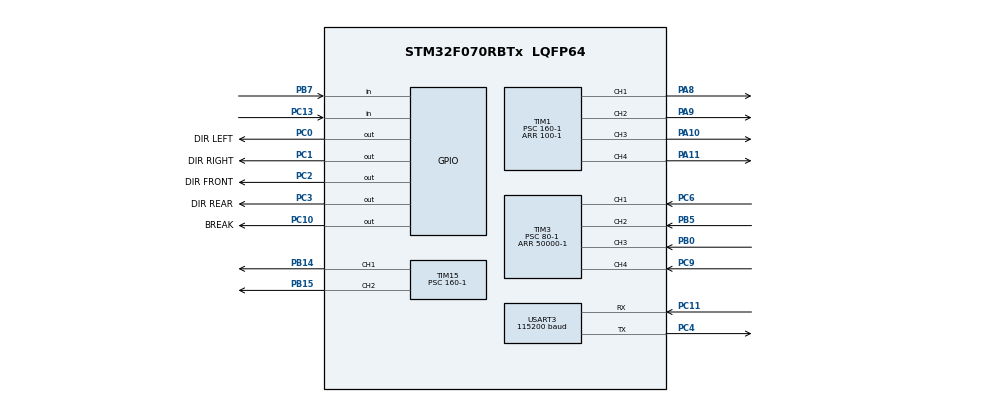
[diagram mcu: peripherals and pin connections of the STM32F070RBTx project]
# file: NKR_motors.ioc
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Dma.Request0=USART3_RX
Dma.Request1=USART3_TX
Dma.USART3_RX.0.Direction=DMA_PERIPH_TO_MEMORY
Dma.USART3_RX.0.Instance=DMA1_Channel3
Dma.USART3_RX.0.MemDataAlignment=DMA_MDATAALIGN_BYTE
Dma.USART3_RX.0.MemInc=DMA_MINC_ENABLE
Dma.USART3_RX.0.Mode=DMA_CIRCULAR
Dma.USART3_RX.0.PeriphDataAlignment=DMA_PDATAALIGN_BYTE
Dma.USART3_RX.0.PeriphInc=DMA_PINC_DISABLE
Dma.USART3_RX.0.Priority=DMA_PRIORITY_LOW
Dma.USART3_TX.1.Direction=DMA_MEMORY_TO_PERIPH
Dma.USART3_TX.1.Instance=DMA1_Channel2
Dma.USART3_TX.1.MemDataAlignment=DMA_MDATAALIGN_BYTE
Dma.USART3_TX.1.MemInc=DMA_MINC_ENABLE
Dma.USART3_TX.1.Mode=DMA_NORMAL
Dma.USART3_TX.1.PeriphDataAlignment=DMA_PDATAALIGN_BYTE
Dma.USART3_TX.1.PeriphInc=DMA_PINC_DISABLE
Dma.USART3_TX.1.Priority=DMA_PRIORITY_LOW
Mcu.Family=STM32F0
Mcu.Name=STM32F070RBTx
Mcu.Package=LQFP64
NVIC.DMA1_Channel2_3_IRQn=true\:0\:0\:false\:false\:true\:false\:true
NVIC.TIM15_IRQn=true\:0\:0\:false\:false\:true\:true\:true
NVIC.TIM3_IRQn=true\:1\:0\:true\:false\:true\:true\:true
NVIC.USART3_4_IRQn=true\:0\:0\:false\:false\:true\:true\:true
PA10.Signal=S_TIM1_CH3
PA11.Signal=S_TIM1_CH4
PA8.Signal=S_TIM1_CH1
PA9.Signal=S_TIM1_CH2
PB0.GPIO_PuPd=GPIO_PULLUP
PB0.Signal=S_TIM3_CH3
PB14.Signal=S_TIM15_CH1
PB15.Signal=S_TIM15_CH2
PB5.GPIO_PuPd=GPIO_PULLUP
PB5.Signal=S_TIM3_CH2
PB7.GPIO_PuPd=GPIO_PULLUP
PB7.Signal=GPIO_Input
PC0.GPIO_Label=DIR LEFT
PC0.Signal=GPIO_Output
PC1.GPIO_Label=DIR RIGHT
PC1.Signal=GPIO_Output
PC10.GPIO_Label=BREAK
PC10.Signal=GPIO_Output
PC11.Mode=Asynchronous
PC11.Signal=USART3_RX
PC13.GPIO_PuPd=GPIO_PULLUP
PC13.Signal=GPIO_Input
PC2.GPIO_Label=DIR FRONT
PC2.PinState=GPIO_PIN_RESET
PC2.Signal=GPIO_Output
PC3.GPIO_Label=DIR REAR
PC3.Signal=GPIO_Output
PC4.Mode=Asynchronous
PC4.Signal=USART3_TX
PC6.GPIO_PuPd=GPIO_PULLUP
PC6.Signal=S_TIM3_CH1
PC9.GPIO_PuPd=GPIO_PULLUP
PC9.Signal=S_TIM3_CH4
PF0-OSC_IN.Mode=HSE-External-Oscillator
PF0-OSC_IN.Signal=RCC_OSC_IN
PF1-OSC_OUT.Mode=HSE-External-Oscillator
PF1-OSC_OUT.Signal=RCC_OSC_OUT
ProjectManager.HeapSize=0x200
ProjectManager.StackSize=0x400
ProjectManager.TargetToolchain=STM32CubeIDE
RCC.AHBFreq_Value=8000000
RCC.APB1Freq_Value=8000000
RCC.APB1TimFreq_Value=8000000
RCC.HCLKFreq_Value=8000000
SH.S_TIM15_CH1.0=TIM15_CH1,PWM Generation1 CH1
SH.S_TIM15_CH2.0=TIM15_CH2,PWM Generation2 CH2
SH.S_TIM1_CH1.0=TIM1_CH1,PWM Generation1 CH1
SH.S_TIM1_CH2.0=TIM1_CH2,PWM Generation2 CH2
SH.S_TIM1_CH3.0=TIM1_CH3,PWM Generation3 CH3
SH.S_TIM1_CH4.0=TIM1_CH4,PWM Generation4 CH4
SH.S_TIM3_CH1.0=TIM3_CH1,Input_Capture1_from_TI1
SH.S_TIM3_CH2.0=TIM3_CH2,Input_Capture2_from_TI2
SH.S_TIM3_CH3.0=TIM3_CH3,Input_Capture3_from_TI3
SH.S_TIM3_CH4.0=TIM3_CH4,Input_Capture4_from_TI4
TIM1.Channel-PWM\ Generation1\ CH1=TIM_CHANNEL_1
TIM1.Channel-PWM\ Generation2\ CH2=TIM_CHANNEL_2
TIM1.Channel-PWM\ Generation3\ CH3=TIM_CHANNEL_3
TIM1.Channel-PWM\ Generation4\ CH4=TIM_CHANNEL_4
TIM1.Period=100-1
TIM1.Prescaler=160-1
TIM15.Channel-PWM\ Generation1\ CH1=TIM_CHANNEL_1
TIM15.Channel-PWM\ Generation2\ CH2=TIM_CHANNEL_2
TIM15.Period=5-1
TIM15.Prescaler=160-1
TIM15.RepetitionCounter=100
TIM3.Channel-Input_Capture1_from_TI1=TIM_CHANNEL_1
TIM3.Channel-Input_Capture2_from_TI2=TIM_CHANNEL_2
TIM3.Channel-Input_Capture3_from_TI3=TIM_CHANNEL_3
TIM3.Channel-Input_Capture4_from_TI4=TIM_CHANNEL_4
TIM3.ICFilter_CH1=3
TIM3.ICFilter_CH2=3
TIM3.ICFilter_CH3=3
TIM3.ICFilter_CH4=3
TIM3.ICPolarity_CH2=TIM_INPUTCHANNELPOLARITY_RISING
TIM3.ICPolarity_CH3=TIM_INPUTCHANNELPOLARITY_RISING
TIM3.ICPrescaler-Input_Capture1_from_TI1=TIM_ICPSC_DIV1
TIM3.ICPrescaler-Input_Capture2_from_TI2=TIM_ICPSC_DIV1
TIM3.ICPrescaler-Input_Capture3_from_TI3=TIM_ICPSC_DIV1
TIM3.Period=50000-1
TIM3.Prescaler=80-1
USART3.BaudRate=115200
USART3.VirtualMode-Asynchronous=VM_ASYNC
VP_TIM15_VS_ClockSourceINT.Mode=Internal
VP_TIM1_VS_ClockSourceINT.Mode=Internal
board=custom

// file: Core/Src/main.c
/* USER CODE BEGIN Header */
/**
  ******************************************************************************
  * @file           : main.c
  * @brief          : Main program body
  ******************************************************************************
  * @attention
  *
  * <h2><center>&copy; Copyright (c) 2021 STMicroelectronics.
  * All rights reserved.</center></h2>
  *
  * This software component is licensed by ST under BSD 3-Clause license,
  * the "License"; You may not use this file except in compliance with the
  * License. You may obtain a copy of the License at:
  *                        opensource.org/licenses/BSD-3-Clause
  *
  ******************************************************************************
  */
/* USER CODE END Header */
#include "main.h"

/* USER CODE BEGIN Includes */
#include "motor_lib.h"
#include "linear_motor_lib.h"
//#include "stm32f0xx_hal.h"

/* USER CODE END Includes */

/* USER CODE BEGIN PD */
#define UART_BUSY 1
#define UART_PACKET_OK 0
#define UART_PACKET_TOO_LONG 1
/* USER CODE END PD */

TIM_HandleTypeDef htim1;
TIM_HandleTypeDef htim3;
TIM_HandleTypeDef htim15;

UART_HandleTypeDef huart3;
DMA_HandleTypeDef hdma_usart3_rx;
DMA_HandleTypeDef hdma_usart3_tx;

void SystemClock_Config(void);
static void MX_GPIO_Init(void);
static void MX_TIM3_Init(void);
static void MX_TIM1_Init(void);
static void MX_TIM15_Init(void);
static void MX_DMA_Init(void);
static void MX_USART3_UART_Init(void);
/* USER CODE BEGIN PFP */
void UART_Send (const uint8_t message[]);
void drv_messageCheck(const char message[]);
void cal_messageCheck(const char message[]);
void calculate_angles(float *frontAngle, float *rearAngle);
void calculate_pulses(int32_t frontAngle, int32_t rearAngle);
/* USER CODE END PFP */

/* USER CODE BEGIN 0 */
// ENCODERS
uint32_t T31pulseWidth = 0;
uint32_t T31Rising = 0;
uint32_t T31Tick = 0;
uint32_t T31vectSum = 0;
uint32_t T31vect[5] = { 0 };

uint32_t T32pulseWidth = 0;
uint32_t T32Rising = 0;
uint32_t T32Tick = 0;
uint32_t T32vectSum = 0;
uint32_t T32vect[5] = { 0 };

uint32_t T33pulseWidth = 0;
uint32_t T33Rising = 0;
uint32_t T33Tick = 0;
uint32_t T33vectSum = 0;
uint32_t T33vect[5] = { 0 };

uint32_t T34pulseWidth = 0;
uint32_t T34Rising = 0;
uint32_t T34Tick = 0;
uint32_t T34vectSum = 0;
uint32_t T34vect[5] = { 0 };

// MOTORS - UART
uint8_t UART2_rxBuffer = '\000';
uint8_t UART_newMessage = 0;
char rxString[100] = { '\0' };
volatile uint8_t UART_TX_Busy = 0;

// MOTORS - Motor Wheels
Motor_Wheel MW[4];
Motor_Wheel* pMW[4];

// MOTORS - Linear Motors
Linear_Motor LM[2];
Linear_Motor* pLM[2];

uint32_t linearPulse_1 = 0;
uint32_t linearPulse_2 = 0;

// INITIALIZATION FLAG
uint8_t Init_Done = 0;

/* USER CODE END 0 */

int main(void)
{

  /* MCU Configuration--------------------------------------------------------*/

  /* Reset of all peripherals, Initializes the Flash interface and the Systick. */
  HAL_Init();

  /* Configure the system clock */
  SystemClock_Config();

  /* Initialize all configured peripherals */
  MX_GPIO_Init();
  MX_TIM3_Init();
  MX_TIM1_Init();
  MX_TIM15_Init();
  MX_DMA_Init();
  MX_USART3_UART_Init();
  /* USER CODE BEGIN 2 */

  HAL_Delay(1000);

  // --------------------------------------
  // ENCODERS READING
  // --------------------------------------
  HAL_TIM_IC_Start_IT(&htim3, TIM_CHANNEL_1);
  HAL_TIM_IC_Start_IT(&htim3, TIM_CHANNEL_2);
  HAL_TIM_IC_Start_IT(&htim3, TIM_CHANNEL_3);
  HAL_TIM_IC_Start_IT(&htim3, TIM_CHANNEL_4);
  uint8_t MSG[65] = {'\0'};
  float speed1 = 0;
  float speed2 = 0;
  float speed3 = 0;
  float speed4 = 0;
  float gamma1 = 0;
  float gamma2 = 0;
  uint8_t cycleCounter = 0;

  uint32_t sumVect = 0.0;
  uint32_t vect[4][5] = { 0.0 };

  // --------------------------------------
  // MOTORS CONTROL
  // --------------------------------------
  HAL_TIM_PWM_Start(&htim1, TIM_CHANNEL_1);
  HAL_TIM_PWM_Start(&htim1, TIM_CHANNEL_2);
  HAL_TIM_PWM_Start(&htim1, TIM_CHANNEL_3);
  HAL_TIM_PWM_Start(&htim1, TIM_CHANNEL_4);

  __HAL_TIM_SET_COMPARE(&htim15, TIM_CHANNEL_1, 2);
  __HAL_TIM_SET_COMPARE(&htim15, TIM_CHANNEL_2, 2);

  // SETUP
  for (int i = 0; i < 4; i++)
  {
	  pMW[i] = &MW[i];
	  motor_wheel_init(pMW[i], i+1); // init structure
	  motorPWM_pulse(&htim1, pMW[i], 0.0); // send zero velocities
	  motor_break(pMW[i], 0);  // set brake to false
  }

  // basicly - clear all uart queues
  HAL_UART_Receive_DMA(&huart3, &UART2_rxBuffer, 1);
  HAL_UART_Transmit(&huart3, MSG, strlen(MSG), 50);

  for (int i = 0; i < 2; i++)
  {
	  pLM[i] = &LM[i];
	  linear_motor_init(pLM[i], i+1, i); // init structure
  }

  // No incoming processing should be done before it is set
  Init_Done = 1;

  /* USER CODE END 2 */

  /* Infinite loop */
  while (1)
  {

    /* USER CODE BEGIN 3 */
	cycleCounter++;
	if (cycleCounter == 255)
	{
		cycleCounter = 1;
	}
	// --------------------------------------
	// ENCODERS READING
	// --------------------------------------
    if (cycleCounter % 1 == 0) // send odometry every second cycle
	 {
		 speed1 = 0.0;
		 speed2 = 0.0;
		 speed3 = 0.0;
		 speed4 = 0.0;

		 if (T31pulseWidth < 30000 && T31pulseWidth != 0)
		 {
			 speed1 = 13900.0 / T31pulseWidth;
		 }
		 if (T32pulseWidth < 30000 && T32pulseWidth != 0)
		 {
			 speed2 = 13900.0 / T32pulseWidth;
		 }
		 if (T33pulseWidth < 30000 && T33pulseWidth != 0)
		 {
			 speed3 = 13900.0 / T33pulseWidth;
		 }
		 if (T34pulseWidth < 30000 && T34pulseWidth != 0)
		 {
			 speed4 = 13900.0 / T34pulseWidth;
		 }
		 calculate_angles(&gamma1, &gamma2);
		 memset(MSG, 0, sizeof(MSG));
		 sprintf(MSG, "[enc] %.2f %.2f %.2f %.2f %.2f %.2f\n", speed1, speed2, speed3, speed4, gamma1, gamma2);
		 //sprintf(MSG, "[enc] %d %d %d %d %d %d\n", T31pulseWidth, T32pulseWidth, T33pulseWidth, T34pulseWidth, HAL_GPIO_ReadPin(GPIOB, GPIO_PIN_7), HAL_GPIO_ReadPin(GPIOC, GPIO_PIN_13));
		 UART_Send(MSG);

		 //memset(MSG, 0, sizeof(MSG));
		 //sprintf(MSG, "status: %d %d\n", HAL_GPIO_ReadPin(GPIOB, GPIO_PIN_7), HAL_GPIO_ReadPin(GPIOC, GPIO_PIN_13));
		 //UART_Send(MSG);
	 }

	 for (int i=0; i < 4; i++)
	 {
		 sumVect = 0.0;
		 for (int j=0; j < 4; j++)
		 {
			 vect[i][j] = vect[i][j+1];
			 sumVect += vect[i][j] / 5;
		 }
		 if (i==0)
		 {
			 vect[i][4] = T31pulseWidth;
			 sumVect += vect[i][4] / 5;
			 if (abs(T31pulseWidth - sumVect) <= 5) // exact match may differ by 5 or less
				 T31pulseWidth = 0;
		 }
		 else if (i==1)
		 {
			 vect[i][4] = T32pulseWidth;
			 sumVect += vect[i][4] / 5;
			 if (abs(T32pulseWidth - sumVect) <= 5)
				 T32pulseWidth = 0;
		 }
		 else if (i==2)
		 {
			 vect[i][4] = T33pulseWidth;
			 sumVect += vect[i][4] / 5;
			 if (abs(T33pulseWidth - sumVect) <= 5)
				 T33pulseWidth = 0;
		 }
		 else if (i==3)
		 {
			 vect[i][4] = T34pulseWidth;
			 sumVect += vect[i][4] / 5;
			 if (abs(T34pulseWidth - sumVect) <= 5)
				 T34pulseWidth = 0;
		 }
	 }

	 HAL_Delay(50);
	// --------------------------------------
	// MOTORS CONTROL
	// --------------------------------------
	 if ((UART_newMessage == 1) && (cycleCounter % 2 == 0))
	 {
		 // check if received string contains [drv] message and parse it
		 drv_messageCheck(rxString);
		 cal_messageCheck(rxString);
		 // clear received b
		 memset(rxString, 0, sizeof(rxString));
		 // set newMessage flag to 0 to begin new string receive
		 UART_newMessage = 0;
	 }
  }
  /* USER CODE END 3 */
}

void SystemClock_Config(void)
{
  RCC_OscInitTypeDef RCC_OscInitStruct = {0};
  RCC_ClkInitTypeDef RCC_ClkInitStruct = {0};

  /** Initializes the RCC Oscillators according to the specified parameters
  * in the RCC_OscInitTypeDef structure.
  */
  RCC_OscInitStruct.OscillatorType = RCC_OSCILLATORTYPE_HSI;
  RCC_OscInitStruct.HSIState = RCC_HSI_ON;
  RCC_OscInitStruct.HSICalibrationValue = RCC_HSICALIBRATION_DEFAULT;
  RCC_OscInitStruct.PLL.PLLState = RCC_PLL_NONE;
  if (HAL_RCC_OscConfig(&RCC_OscInitStruct) != HAL_OK)
  {
    Error_Handler();
  }
  /** Initializes the CPU, AHB and APB buses clocks
  */
  RCC_ClkInitStruct.ClockType = RCC_CLOCKTYPE_HCLK|RCC_CLOCKTYPE_SYSCLK
                              |RCC_CLOCKTYPE_PCLK1;
  RCC_ClkInitStruct.SYSCLKSource = RCC_SYSCLKSOURCE_HSI;
  RCC_ClkInitStruct.AHBCLKDivider = RCC_SYSCLK_DIV1;
  RCC_ClkInitStruct.APB1CLKDivider = RCC_HCLK_DIV1;

  if (HAL_RCC_ClockConfig(&RCC_ClkInitStruct, FLASH_LATENCY_0) != HAL_OK)
  {
    Error_Handler();
  }
}

static void MX_TIM1_Init(void)
{

  TIM_ClockConfigTypeDef sClockSourceConfig = {0};
  TIM_MasterConfigTypeDef sMasterConfig = {0};
  TIM_OC_InitTypeDef sConfigOC = {0};
  TIM_BreakDeadTimeConfigTypeDef sBreakDeadTimeConfig = {0};

  htim1.Instance = TIM1;
  htim1.Init.Prescaler = 160-1;
  htim1.Init.CounterMode = TIM_COUNTERMODE_UP;
  htim1.Init.Period = 100-1;
  htim1.Init.ClockDivision = TIM_CLOCKDIVISION_DIV1;
  htim1.Init.RepetitionCounter = 0;
  htim1.Init.AutoReloadPreload = TIM_AUTORELOAD_PRELOAD_DISABLE;
  if (HAL_TIM_Base_Init(&htim1) != HAL_OK)
  {
    Error_Handler();
  }
  sClockSourceConfig.ClockSource = TIM_CLOCKSOURCE_INTERNAL;
  if (HAL_TIM_ConfigClockSource(&htim1, &sClockSourceConfig) != HAL_OK)
  {
    Error_Handler();
  }
  if (HAL_TIM_PWM_Init(&htim1) != HAL_OK)
  {
    Error_Handler();
  }
  sMasterConfig.MasterOutputTrigger = TIM_TRGO_RESET;
  sMasterConfig.MasterSlaveMode = TIM_MASTERSLAVEMODE_DISABLE;
  if (HAL_TIMEx_MasterConfigSynchronization(&htim1, &sMasterConfig) != HAL_OK)
  {
    Error_Handler();
  }
  sConfigOC.OCMode = TIM_OCMODE_PWM1;
  sConfigOC.Pulse = 0;
  sConfigOC.OCPolarity = TIM_OCPOLARITY_HIGH;
  sConfigOC.OCNPolarity = TIM_OCNPOLARITY_HIGH;
  sConfigOC.OCFastMode = TIM_OCFAST_DISABLE;
  sConfigOC.OCIdleState = TIM_OCIDLESTATE_RESET;
  sConfigOC.OCNIdleState = TIM_OCNIDLESTATE_RESET;
  if (HAL_TIM_PWM_ConfigChannel(&htim1, &sConfigOC, TIM_CHANNEL_1) != HAL_OK)
  {
    Error_Handler();
  }
  if (HAL_TIM_PWM_ConfigChannel(&htim1, &sConfigOC, TIM_CHANNEL_2) != HAL_OK)
  {
    Error_Handler();
  }
  if (HAL_TIM_PWM_ConfigChannel(&htim1, &sConfigOC, TIM_CHANNEL_3) != HAL_OK)
  {
    Error_Handler();
  }
  if (HAL_TIM_PWM_ConfigChannel(&htim1, &sConfigOC, TIM_CHANNEL_4) != HAL_OK)
  {
    Error_Handler();
  }
  sBreakDeadTimeConfig.OffStateRunMode = TIM_OSSR_DISABLE;
  sBreakDeadTimeConfig.OffStateIDLEMode = TIM_OSSI_DISABLE;
  sBreakDeadTimeConfig.LockLevel = TIM_LOCKLEVEL_OFF;
  sBreakDeadTimeConfig.DeadTime = 0;
  sBreakDeadTimeConfig.BreakState = TIM_BREAK_DISABLE;
  sBreakDeadTimeConfig.BreakPolarity = TIM_BREAKPOLARITY_HIGH;
  sBreakDeadTimeConfig.AutomaticOutput = TIM_AUTOMATICOUTPUT_DISABLE;
  if (HAL_TIMEx_ConfigBreakDeadTime(&htim1, &sBreakDeadTimeConfig) != HAL_OK)
  {
    Error_Handler();
  }
  HAL_TIM_MspPostInit(&htim1);

}

static void MX_TIM3_Init(void)
{

  TIM_MasterConfigTypeDef sMasterConfig = {0};
  TIM_IC_InitTypeDef sConfigIC = {0};

  htim3.Instance = TIM3;
  htim3.Init.Prescaler = 80-1;
  htim3.Init.CounterMode = TIM_COUNTERMODE_UP;
  htim3.Init.Period = 50000-1;
  htim3.Init.ClockDivision = TIM_CLOCKDIVISION_DIV1;
  htim3.Init.AutoReloadPreload = TIM_AUTORELOAD_PRELOAD_DISABLE;
  if (HAL_TIM_IC_Init(&htim3) != HAL_OK)
  {
    Error_Handler();
  }
  sMasterConfig.MasterOutputTrigger = TIM_TRGO_RESET;
  sMasterConfig.MasterSlaveMode = TIM_MASTERSLAVEMODE_DISABLE;
  if (HAL_TIMEx_MasterConfigSynchronization(&htim3, &sMasterConfig) != HAL_OK)
  {
    Error_Handler();
  }
  sConfigIC.ICPolarity = TIM_INPUTCHANNELPOLARITY_RISING;
  sConfigIC.ICSelection = TIM_ICSELECTION_DIRECTTI;
  sConfigIC.ICPrescaler = TIM_ICPSC_DIV1;
  sConfigIC.ICFilter = 3;
  if (HAL_TIM_IC_ConfigChannel(&htim3, &sConfigIC, TIM_CHANNEL_1) != HAL_OK)
  {
    Error_Handler();
  }
  if (HAL_TIM_IC_ConfigChannel(&htim3, &sConfigIC, TIM_CHANNEL_2) != HAL_OK)
  {
    Error_Handler();
  }
  if (HAL_TIM_IC_ConfigChannel(&htim3, &sConfigIC, TIM_CHANNEL_3) != HAL_OK)
  {
    Error_Handler();
  }
  if (HAL_TIM_IC_ConfigChannel(&htim3, &sConfigIC, TIM_CHANNEL_4) != HAL_OK)
  {
    Error_Handler();
  }

}

static void MX_TIM15_Init(void)
{

  TIM_ClockConfigTypeDef sClockSourceConfig = {0};
  TIM_MasterConfigTypeDef sMasterConfig = {0};
  TIM_OC_InitTypeDef sConfigOC = {0};
  TIM_BreakDeadTimeConfigTypeDef sBreakDeadTimeConfig = {0};

  htim15.Instance = TIM15;
  htim15.Init.Prescaler = 160-1;
  htim15.Init.CounterMode = TIM_COUNTERMODE_UP;
  htim15.Init.Period = 5-1;
  htim15.Init.ClockDivision = TIM_CLOCKDIVISION_DIV1;
  htim15.Init.RepetitionCounter = 100;
  htim15.Init.AutoReloadPreload = TIM_AUTORELOAD_PRELOAD_DISABLE;
  if (HAL_TIM_Base_Init(&htim15) != HAL_OK)
  {
    Error_Handler();
  }
  sClockSourceConfig.ClockSource = TIM_CLOCKSOURCE_INTERNAL;
  if (HAL_TIM_ConfigClockSource(&htim15, &sClockSourceConfig) != HAL_OK)
  {
    Error_Handler();
  }
  if (HAL_TIM_PWM_Init(&htim15) != HAL_OK)
  {
    Error_Handler();
  }
  sMasterConfig.MasterOutputTrigger = TIM_TRGO_RESET;
  sMasterConfig.MasterSlaveMode = TIM_MASTERSLAVEMODE_DISABLE;
  if (HAL_TIMEx_MasterConfigSynchronization(&htim15, &sMasterConfig) != HAL_OK)
  {
    Error_Handler();
  }
  sConfigOC.OCMode = TIM_OCMODE_PWM1;
  sConfigOC.Pulse = 0;
  sConfigOC.OCPolarity = TIM_OCPOLARITY_HIGH;
  sConfigOC.OCNPolarity = TIM_OCNPOLARITY_HIGH;
  sConfigOC.OCFastMode = TIM_OCFAST_DISABLE;
  sConfigOC.OCIdleState = TIM_OCIDLESTATE_RESET;
  sConfigOC.OCNIdleState = TIM_OCNIDLESTATE_RESET;
  if (HAL_TIM_PWM_ConfigChannel(&htim15, &sConfigOC, TIM_CHANNEL_1) != HAL_OK)
  {
    Error_Handler();
  }
  if (HAL_TIM_PWM_ConfigChannel(&htim15, &sConfigOC, TIM_CHANNEL_2) != HAL_OK)
  {
    Error_Handler();
  }
  sBreakDeadTimeConfig.OffStateRunMode = TIM_OSSR_DISABLE;
  sBreakDeadTimeConfig.OffStateIDLEMode = TIM_OSSI_DISABLE;
  sBreakDeadTimeConfig.LockLevel = TIM_LOCKLEVEL_OFF;
  sBreakDeadTimeConfig.DeadTime = 0;
  sBreakDeadTimeConfig.BreakState = TIM_BREAK_DISABLE;
  sBreakDeadTimeConfig.BreakPolarity = TIM_BREAKPOLARITY_HIGH;
  sBreakDeadTimeConfig.AutomaticOutput = TIM_AUTOMATICOUTPUT_DISABLE;
  if (HAL_TIMEx_ConfigBreakDeadTime(&htim15, &sBreakDeadTimeConfig) != HAL_OK)
  {
    Error_Handler();
  }
  HAL_TIM_MspPostInit(&htim15);

}

static void MX_USART3_UART_Init(void)
{

  huart3.Instance = USART3;
  huart3.Init.BaudRate = 115200;
  huart3.Init.WordLength = UART_WORDLENGTH_8B;
  huart3.Init.StopBits = UART_STOPBITS_1;
  huart3.Init.Parity = UART_PARITY_NONE;
  huart3.Init.Mode = UART_MODE_TX_RX;
  huart3.Init.HwFlowCtl = UART_HWCONTROL_NONE;
  huart3.Init.OverSampling = UART_OVERSAMPLING_16;
  huart3.Init.OneBitSampling = UART_ONE_BIT_SAMPLE_DISABLE;
  huart3.AdvancedInit.AdvFeatureInit = UART_ADVFEATURE_NO_INIT;
  if (HAL_UART_Init(&huart3) != HAL_OK)
  {
    Error_Handler();
  }

}

static void MX_DMA_Init(void)
{

  /* DMA controller clock enable */
  __HAL_RCC_DMA1_CLK_ENABLE();

  /* DMA interrupt init */
  /* DMA1_Channel2_3_IRQn interrupt configuration */
  HAL_NVIC_SetPriority(DMA1_Channel2_3_IRQn, 0, 0);
  HAL_NVIC_EnableIRQ(DMA1_Channel2_3_IRQn);

}

static void MX_GPIO_Init(void)
{
  GPIO_InitTypeDef GPIO_InitStruct = {0};

  /* GPIO Ports Clock Enable */
  __HAL_RCC_GPIOC_CLK_ENABLE();
  __HAL_RCC_GPIOF_CLK_ENABLE();
  __HAL_RCC_GPIOB_CLK_ENABLE();
  __HAL_RCC_GPIOA_CLK_ENABLE();

  /*Configure GPIO pin Output Level */
  HAL_GPIO_WritePin(GPIOC, DIR_LEFT_Pin|DIR_RIGHT_Pin|DIR_FRONT_Pin|DIR_REAR_Pin
                          |BREAK_Pin, GPIO_PIN_RESET);

  /*Configure GPIO pin : PC13 */
  GPIO_InitStruct.Pin = GPIO_PIN_13;
  GPIO_InitStruct.Mode = GPIO_MODE_INPUT;
  GPIO_InitStruct.Pull = GPIO_PULLUP;
  HAL_GPIO_Init(GPIOC, &GPIO_InitStruct);

  /*Configure GPIO pins : DIR_LEFT_Pin DIR_RIGHT_Pin DIR_FRONT_Pin DIR_REAR_Pin
                           BREAK_Pin */
  GPIO_InitStruct.Pin = DIR_LEFT_Pin|DIR_RIGHT_Pin|DIR_FRONT_Pin|DIR_REAR_Pin
                          |BREAK_Pin;
  GPIO_InitStruct.Mode = GPIO_MODE_OUTPUT_PP;
  GPIO_InitStruct.Pull = GPIO_NOPULL;
  GPIO_InitStruct.Speed = GPIO_SPEED_FREQ_LOW;
  HAL_GPIO_Init(GPIOC, &GPIO_InitStruct);

  /*Configure GPIO pin : PB7 */
  GPIO_InitStruct.Pin = GPIO_PIN_7;
  GPIO_InitStruct.Mode = GPIO_MODE_INPUT;
  GPIO_InitStruct.Pull = GPIO_PULLUP;
  HAL_GPIO_Init(GPIOB, &GPIO_InitStruct);

}

/* USER CODE BEGIN 4 */

void UART_Send(const uint8_t message[])
{
	while(UART_TX_Busy){};
	UART_TX_Busy = 1;
	HAL_UART_Transmit_DMA(&huart3, (uint8_t*)message, strlen(message));
}

void drv_messageCheck(const char message[])
{
	// create a local copy of the incoming string, just it case
	static char cmd_buf[100];
	strcpy(cmd_buf, message);

	uint8_t MSG[5] = {'\0'};
	int arw1=0, arw2=0, arw3=0, arw4=0, motor_brk=0;
	int turn = 0;
	sscanf(cmd_buf, "%s %d %d %d %d %d %d", &MSG, &arw1, &arw2, &arw3, &arw4, &turn, &motor_brk);
	if (!strcmp(MSG, "[drv]")) // returns 0 if strings are equal
	{
		uint8_t reply[40] = {'\0'};
		sprintf(reply, "received: %d %d %d %d %d %d \n", arw1, arw2, arw3, arw4, turn, motor_brk);
		UART_Send(reply);

		// Since only 1 break pin is used, it is enough to call this function for only 1 wheel
		motor_break(pMW[0], motor_brk);

		// Direction is set separately for left and right sided wheels
		if (arw1 < 0 && arw3 < 0)
		{
			motor_DIR(pMW[0], 1); // set direction to backward
		}
		else
		{
			motor_DIR(pMW[0], 0); // set direction to forward
		}
		if (arw2 < 0 && arw4 < 0)
		{
			motor_DIR(pMW[1], 1); // set direction to backward
		}
		else
		{
			motor_DIR(pMW[1], 0); // set direction to forward
		}

		motorPWM_pulse(&htim1, pMW[0], arw1 );
		motorPWM_pulse(&htim1, pMW[1], arw2 );
		motorPWM_pulse(&htim1, pMW[2], arw3 );
		motorPWM_pulse(&htim1, pMW[3], arw4 );

		// Positive turn direction is RIGHT
		if (abs(turn) > 25)
		{
			turn = turn / abs(turn) * 25;
		}
		calculate_pulses(turn, -turn);
		//linear_motor_set_target(pLM[0], turn);
		//linear_motor_set_target(pLM[1], turn);
		//linear_motor_pulse(pLM[0], &htim15, &linearPulse_1);
		//linear_motor_pulse(pLM[1], &htim15, &linearPulse_2);
	}
}

void cal_messageCheck(const char message[])
{
	// create a local copy of the incoming string, just it case
	static char cmd_buf[100];
	strcpy(cmd_buf, message);

	uint8_t MSG[5] = {'\0'};
	sscanf(cmd_buf, "%s", &MSG);
	if (!strcmp(MSG, "[cal]")) // returns 0 if strings are equal
	{
		uint8_t reply[] = "received calibration command\n";
		UART_Send(reply);
		uint32_t flag = linear_motor_calibrate(pLM[0], &htim15, &linearPulse_1);
		if (flag == 0)
		{
			UART_Send("Front motor calibration timed out! Check for mechanical problems and repeat calibration.");
		}
		flag = linear_motor_calibrate(pLM[1], &htim15, &linearPulse_2);
		if (flag == 0)
		{
			UART_Send("Rear motor calibration timed out! Check for mechanical problems and repeat calibration.");
		}
	}
}

void calculate_angles(float *frontAngle, float *rearAngle)
{
    // Positive turn direction is RIGHT
	int32_t posFront = linear_motor_get_position(pLM[0]);
	int32_t posRear = linear_motor_get_position(pLM[1]);

	*frontAngle = round((posFront - 75.5498) / (- 253.6124));
	if (posRear > 0)
	{
		*rearAngle = round((posRear + 159.8128) / (242.2376));
	}
	else if (posRear < 0)
	{
		*rearAngle = round((posRear + 332.1803) / (314.4046));
	}
	if (posRear == 0)
	{
		*rearAngle = 0;
	}

}

void calculate_pulses(int32_t frontAngle, int32_t rearAngle)
{
    // Positive turn direction is RIGHT
	int32_t pulses_front = -253.6124 * frontAngle + 75.5498;
	int32_t pulses_rear = 0;
	if (rearAngle > 0)
	{
		pulses_rear = 242.2376 * rearAngle - 159.8128;
	}
	else if (rearAngle < 0)
	{
		pulses_rear = 314.4046 * rearAngle - 332.1803;
	}

	// Positive turn direction is RIGHT
	linear_motor_set_target(pLM[0], pulses_front);
	linear_motor_set_target(pLM[1], pulses_rear);
	linear_motor_pulse(pLM[0], &htim15, &linearPulse_1);
	linear_motor_pulse(pLM[1], &htim15, &linearPulse_2);
}

// Linear Motors Timers
void HAL_TIM_PWM_PulseFinishedCallback(TIM_HandleTypeDef *htim)
{
	if (htim == &htim15)
	{
		if(htim->Channel == HAL_TIM_ACTIVE_CHANNEL_1)
		{
			if (linearPulse_1 > 0)
			{
				linearPulse_1--;
			}
			else if (linearPulse_1 == 0)
			{
				HAL_TIM_PWM_Stop_IT(&htim15, TIM_CHANNEL_1);
			}
		}
		else if(htim->Channel == HAL_TIM_ACTIVE_CHANNEL_2)
		{
			if (linearPulse_2 > 0)
			{
				linearPulse_2--;
			}
			else if (linearPulse_2 == 0)
			{
				HAL_TIM_PWM_Stop_IT(&htim15, TIM_CHANNEL_2);
			}
		}
	}
}

// ENCODERS READING
void HAL_TIM_IC_CaptureCallback(TIM_HandleTypeDef *htim)
{
    if (htim->Instance == TIM3)
    {
    	if(htim->Channel == HAL_TIM_ACTIVE_CHANNEL_1)
		{
			T31Tick = HAL_TIM_ReadCapturedValue(&htim3, TIM_CHANNEL_1);
			if (T31Tick > T31Rising)
			{
				T31vectSum = 0;
				for (int i = 0; i < 4; i++)
				{
					T31vect[i] = T31vect[i+1];
					T31vectSum += T31vect[i] / 5;
				}
				T31vect[4] = T31Tick - T31Rising;
				T31vectSum += T31vect[4] / 5;
				T31pulseWidth = T31vectSum;
			}
			T31Rising = T31Tick;
		}
    	else if(htim->Channel == HAL_TIM_ACTIVE_CHANNEL_2)
		{
    		T32Tick = HAL_TIM_ReadCapturedValue(&htim3, TIM_CHANNEL_2);
			if (T32Tick > T32Rising)
			{
				T32vectSum = 0;
				for (int i = 0; i < 4; i++)
				{
					T32vect[i] = T32vect[i+1];
					T32vectSum += T32vect[i] / 5;
				}
				T32vect[4] = T32Tick - T32Rising;
				T32vectSum += T32vect[4] / 5;
				T32pulseWidth = T32vectSum;
			}
			T32Rising = T32Tick;
		}
    	else if(htim->Channel == HAL_TIM_ACTIVE_CHANNEL_3)
        {
    		T33Tick = HAL_TIM_ReadCapturedValue(&htim3, TIM_CHANNEL_3);
			if (T33Tick > T33Rising)
			{
				T33vectSum = 0;
				for (int i = 0; i < 4; i++)
				{
					T33vect[i] = T33vect[i+1];
					T33vectSum += T33vect[i] / 5;
				}
				T33vect[4] = T33Tick - T33Rising;
				T33vectSum += T33vect[4] / 5;
				T33pulseWidth = T33vectSum;
			}
			T33Rising = T33Tick;
        }
    	else if(htim->Channel == HAL_TIM_ACTIVE_CHANNEL_4)
		{
    		T34Tick = HAL_TIM_ReadCapturedValue(&htim3, TIM_CHANNEL_4);
			if (T34Tick > T34Rising)
			{
				T34vectSum = 0;
				for (int i = 0; i < 4; i++)
				{
					T34vect[i] = T34vect[i+1];
					T34vectSum += T34vect[i] / 5;
				}
				T34vect[4] = T34Tick - T34Rising;
				T34vectSum += T34vect[4] / 5;
				T34pulseWidth = T34vectSum;
			}
			T34Rising = T34Tick;
		}
    }
}

// --------------------------------------

// UART Processing
void HAL_UART_TxCpltCallback(UART_HandleTypeDef *huart1)
{
	UART_TX_Busy = 0;
}

void HAL_UART_RxCpltCallback(UART_HandleTypeDef *huart)
{
	if (huart->Instance == USART3 && UART_newMessage != 1 && Init_Done == 1)
	{ // Current UART
		static short int UART2_rxindex = 0;
		static uint8_t UART2_ErrorFlag = UART_PACKET_OK;

		if (UART2_rxBuffer == '\n') // If Enter
		{
			if (UART2_ErrorFlag == UART_PACKET_OK && UART2_rxindex)
			{
				rxString[UART2_rxindex] = 0;
				UART2_rxindex = 0;
				UART_newMessage = 1;
				// once newMessage flag is set, received message will be
				// processed in the next main( while{} ) cycle
			}
			else
			{
				UART2_ErrorFlag = UART_PACKET_OK; // reset error state
			}
		}
		else
		{
			if (UART2_rxBuffer != '\r' && UART2_ErrorFlag == UART_PACKET_OK) // Ignore return
			{
				rxString[UART2_rxindex] = UART2_rxBuffer; // Add that character to the string
				UART2_rxindex++;
				if (UART2_rxindex >= 100) // User typing too much, we can't have commands that big
				{
					UART2_ErrorFlag = UART_PACKET_TOO_LONG;
					UART2_rxindex = 0;
					rxString[UART2_rxindex] = '\000';
				}
			}
		}

	}

}

/* USER CODE END 4 */

void Error_Handler(void)
{
  __disable_irq();
  while (1)
  {
  }
}

/************************ (C) COPYRIGHT STMicroelectronics *****END OF FILE****/
